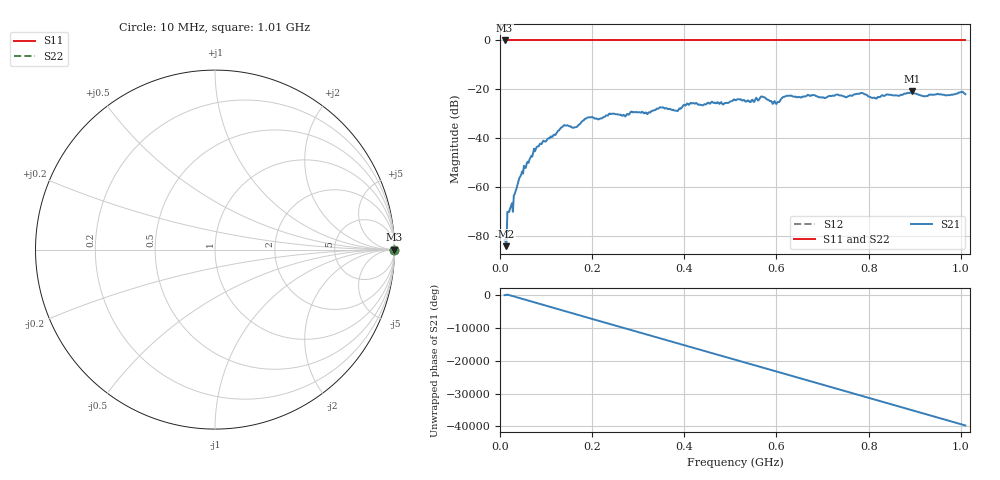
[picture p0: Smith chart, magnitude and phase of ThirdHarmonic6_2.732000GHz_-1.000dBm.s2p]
! 8/17/2025 6:43:41 AM
! C:\ANRITSUVNA\TEMP\TEMP.S2P
! CHANNEL.1
! TR.MEASUREMENT
! RAW.DATA
! RF.CORRECTION.OFF
! AVERAGING.OFF
! IF.BANDWIDTH: 5KHZ
! SWEEPTYPE:  FREQ.SWEEP(Linear)
! Reference Plane Port Info
! PORT:  PORT1  PORT2
! DISTANCE:  0  m  0  m
! TIME:  0  s  0  s
! PHASE.OFFSET:  0  deg.  0  deg.
! LOSS:  0  dB  0  dB
! REF.LOSS:  0  dB  0  dB
! REF.FREQ:  0  Hz  0  Hz
! Power Info
! POWER:  -20  dBm  -20  dBm
! EFF.POWER:  -20  dBm  -20  dBm
! SOURCE.ATTEN:  0  dB  0  dB
! TEST.ATTEN:  0  dB  0  dB
# GHZ S RI R 50.0
! FREQ.GHZ  S11RE  S11IM  S21RE  S21IM  S12RE  S12IM  S22RE  S22IM
!; PortSelection: Port_12
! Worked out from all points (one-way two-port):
!   501 points, 10 MHz to 1.01 GHz, reference 50 ohm
!   highest |S21| = -20.70 dB at 894 MHz (marker M1); lowest = -84.3 dB at 14 MHz (marker M2)
!   lowest |S11| = 0.0 dB at 10 MHz (marker M3)
!   |S11| at or under -10 dB: nowhere
!   |S22| runs from 0.0 to 0.0 dB; largest |S21 - S12| = 1.1
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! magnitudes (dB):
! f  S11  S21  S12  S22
! 10 MHz  0.0  -81.7  0.0  0.0
! 14 MHz  0.0  -84.3  0.0  0.0
! 20 MHz  0.0  -70.2  0.0  0.0
! 24 MHz  0.0  -67.8  0.0  0.0
! 44 MHz  0.0  -55.8  0.0  0.0
! 76 MHz  0.0  -45.4  0.0  0.0
! 136 MHz  0.0  -35.3  0.0  0.0
! 162 MHz  0.0  -35.6  0.0  0.0
! 178 MHz  0.0  -33.2  0.0  0.0
! 344 MHz  0.0  -27.9  0.0  0.0
! 382 MHz  0.0  -28.7  0.0  0.0
! 416 MHz  0.0  -25.8  0.0  0.0
! 510 MHz  0.0  -24.4  0.0  0.0
! 570 MHz  0.0  -23.1  0.0  0.0
! 596 MHz  0.0  -24.9  0.0  0.0
! 624 MHz  0.0  -22.6  0.0  0.0
! 678 MHz  0.0  -22.3  0.0  0.0
! 814 MHz  0.0  -23.5  0.0  0.0
! 844 MHz  0.0  -22.2  0.0  0.0
! 894 MHz  0.0  -20.7  0.0  0.0
! 922 MHz  0.0  -22.9  0.0  0.0
! 1.01 GHz  0.0  -22.0  0.0  0.0
